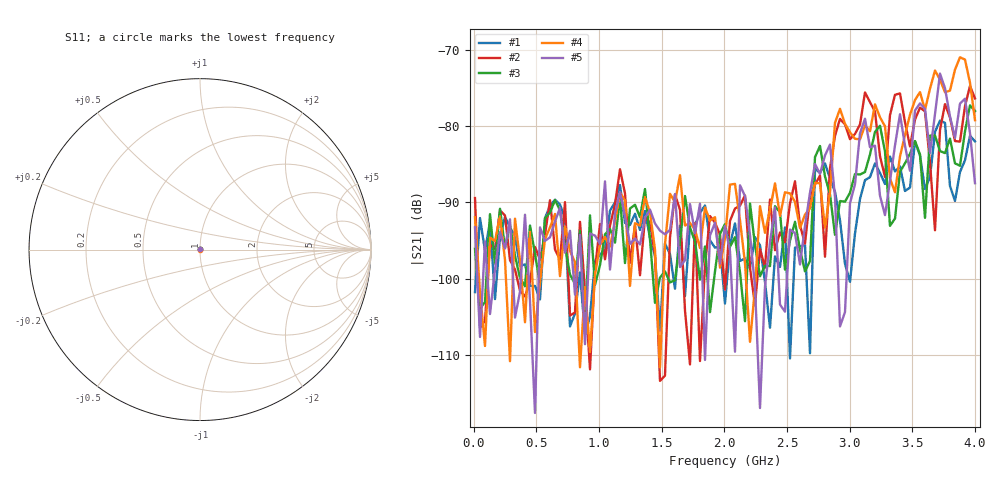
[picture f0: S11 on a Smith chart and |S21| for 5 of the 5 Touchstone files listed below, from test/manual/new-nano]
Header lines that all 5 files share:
! PocketVna 1.81  pocketvna.com
! Live measurements ((Reflection-S11, Transmission-S21, Transmission-S12, Reflection-S22) Linear 10000000-4000000000/101 non-calibrated)
# GHz S MA R 50
! GHz  |S11|  <S11  |S21|  <S21  |S12|  <S12  |S22|  <S22
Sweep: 10 MHz to 4 GHz
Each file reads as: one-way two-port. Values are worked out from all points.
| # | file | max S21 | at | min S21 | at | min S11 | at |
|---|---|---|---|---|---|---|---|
| 1 | nocal-dut1-101pts.s2p | -79.27 dB | 3.721 GHz | -110.5 dB | 2.524 GHz | -90.3 dB | 1.965 GHz |
| 2 | nocal-dut2-101pts.s2p | -74.73 dB | 3.96 GHz | -113.4 dB | 1.486 GHz | -79.3 dB | 1.965 GHz |
| 3 | nocal-dut3-101pts.s2p | -77.27 dB | 3.96 GHz | -106.1 dB | 887.8 MHz | -78.7 dB | 1.686 GHz |
| 4 | nocal-dut4-101pts.s2p | -70.96 dB | 3.88 GHz | -111.6 dB | 1.486 GHz | -86.1 dB | 1.965 GHz |
| 5 | nocal-thru-101pts.s2p | -73.11 dB | 3.721 GHz | -117.6 dB | 488.8 MHz | -78.5 dB | 1.925 GHz |
